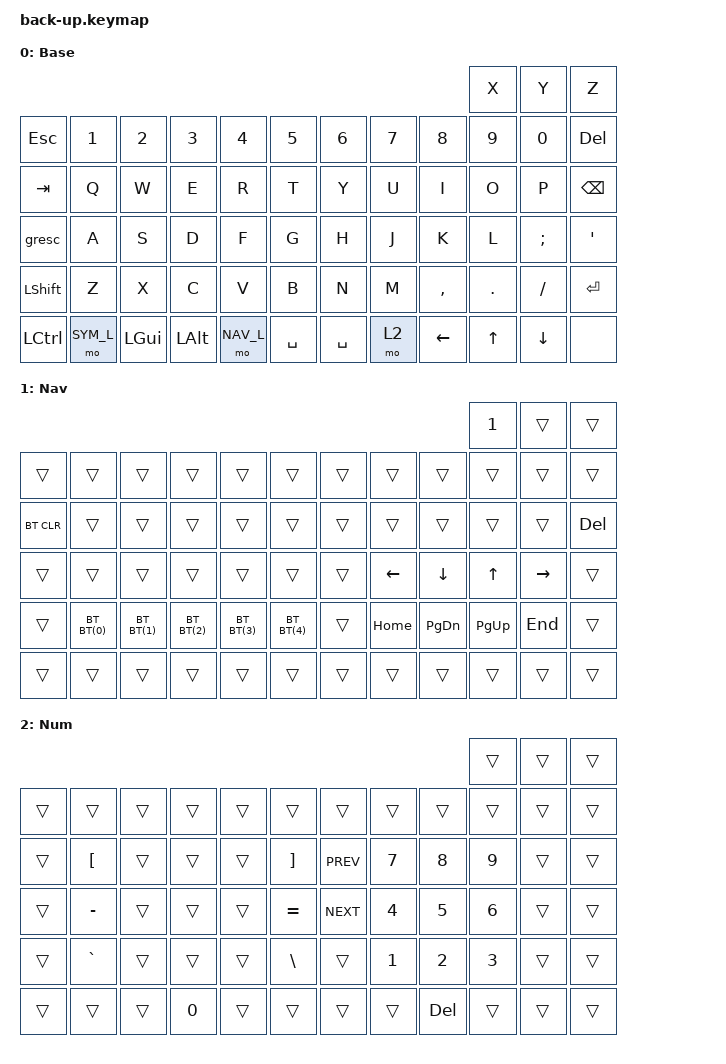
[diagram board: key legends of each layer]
/*
 * Copyright (c) 2022 Pete Johanson
 *
 * SPDX-License-Identifier: MIT
 */

#include <behaviors.dtsi>
#include <dt-bindings/zmk/keys.h>
#include <dt-bindings/zmk/bt.h>
#include <dt-bindings/zmk/outputs.h>

#define PREONIC_ORTHO   1
#define PREONIC_MIT     1

#define NAV_L 1
#define NUM_L 2
#define SYM_L 3

// Using layer taps on thumbs, having quick tap as well helps w/ repeating space/backspace
&lt { quick_tap_ms = <200>; };

#define BT(n) BT_SEL n

/ {
    
#if defined(PREONIC_ORTHO)
    chosen {
       zmk,matrix_transform = &ortho_transform;
    };
#endif
    
    keymap {
        compatible = "zmk,keymap";

        base_layer {
            label = "Base";
            bindings = <
		                                                                                                                    &kp X     &kp Y         &kp Z                         /* Row 0 */
 &kp ESC    &kp N1      &kp N2      &kp N3       &kp N4         &kp N5         &kp N6           &kp N7         &kp N8      &kp N9     &kp N0        &kp DEL                       /* Row 1 */
 &kp TAB    &kp Q       &kp W       &kp E        &kp R          &kp T          &kp Y            &kp U          &kp I       &kp O      &kp P         &kp BKSP                      /* Row 2 */
 &gresc     &kp A       &kp S       &kp D        &kp F          &kp G          &kp H            &kp J          &kp K       &kp L      &kp SEMI      &kp QUOT                      /* Row 3 */
 &kp LSHFT  &kp Z       &kp X       &kp C        &kp V          &kp B          &kp N            &kp M          &kp COMMA   &kp DOT    &kp FSLH      &kp RET                       /* Row 4 */
#if defined(PREONIC_ORTHO)
 &kp LCTRL  &mo SYM_L   &kp LGUI    &kp LALT     &mo NAV_L      &kp SPACE      &kp SPACE       &mo 2   &kp LEFT   &kp UP     &kp DOWN      &none           /* Row 5 */
#else
 &kp LCTRL  &mo SYM_L   &kp LGUI    &kp LALT     &mo NAV_L          &kp SPACE                   &mo num_layer   &kp LEFT   &kp UP     &kp DOWN      &none           /* Row 5 */
#endif
            >;
        };

        nav_layer {
            label = "Nav";
            bindings = <
		                                                                                                        &kp N1 &trans &trans
&trans     &trans     &trans     &trans      &trans          &trans       &trans     &trans         &trans      &trans     &trans     &trans
&bt BT_CLR &trans     &trans     &trans      &trans          &trans       &trans     &trans         &trans      &trans     &trans     &kp DEL
&trans     &trans     &trans     &trans      &trans          &trans       &trans     &kp LEFT       &kp DOWN    &kp UP     &kp RIGHT  &trans
&trans     &bt BT(0)  &bt BT(1)  &bt BT(2)   &bt BT(3)       &bt BT(4)    &trans     &kp HOME       &kp PG_DN   &kp PG_UP  &kp END    &trans
#if defined(PREONIC_ORTHO)
&trans     &trans     &trans     &trans      &trans         &trans        &trans      &trans        &trans      &trans     &trans     &trans
#else
&trans     &trans     &trans     &trans      &trans                 &trans           &trans         &trans      &trans     &trans     &trans
#endif
            >;
        };

        num_layer {
            label = "Num";
            bindings = <
		                                                                                                         &trans        &trans     &trans
&trans     &trans     &trans        &trans      &trans          &trans      &trans        &trans     &trans      &trans       &trans     &trans
&trans     &kp LBKT   &trans        &trans      &trans          &kp RBKT    &kp C_PREV    &kp N7     &kp N8      &kp N9       &trans     &trans
&trans     &kp MINUS  &trans        &trans      &trans          &kp EQUAL   &kp C_NEXT    &kp N4     &kp N5      &kp N6       &trans     &trans
&trans     &kp GRAVE  &trans        &trans      &trans          &kp BSLH    &trans        &kp N1     &kp N2      &kp N3       &trans     &trans
#if defined(PREONIC_ORTHO)
&trans     &trans     &trans        &kp N0      &trans          &trans      &trans        &trans     &kp DEL     &trans       &trans     &trans
#else
&trans     &trans     &trans        &kp N0      &trans                  &none             &trans     &kp DEL     &trans       &trans     &trans
#endif
            >;
        };
    };
};

